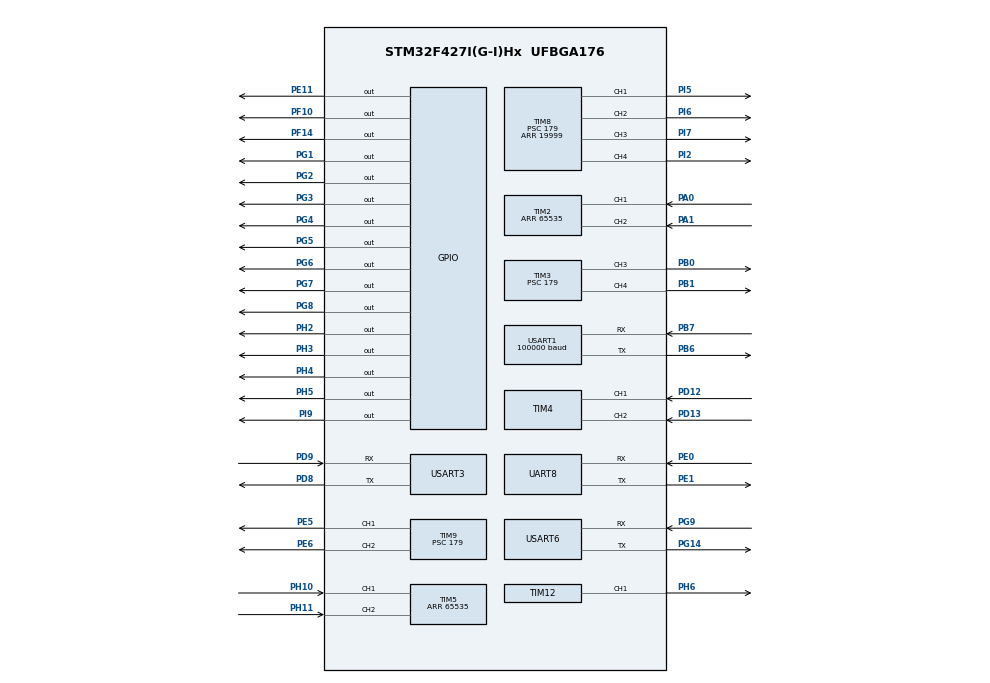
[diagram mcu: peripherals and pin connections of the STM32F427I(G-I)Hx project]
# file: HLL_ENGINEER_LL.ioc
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Dma.Request0=USART1_RX
Dma.Request1=USART6_RX
Dma.Request2=UART8_RX
Dma.Request3=UART8_TX
Dma.UART8_RX.2.Direction=DMA_PERIPH_TO_MEMORY
Dma.UART8_RX.2.FIFOMode=DMA_FIFOMODE_DISABLE
Dma.UART8_RX.2.Instance=DMA1_Stream6
Dma.UART8_RX.2.MemDataAlignment=DMA_MDATAALIGN_BYTE
Dma.UART8_RX.2.MemInc=DMA_MINC_ENABLE
Dma.UART8_RX.2.Mode=DMA_NORMAL
Dma.UART8_RX.2.PeriphDataAlignment=DMA_PDATAALIGN_BYTE
Dma.UART8_RX.2.PeriphInc=DMA_PINC_DISABLE
Dma.UART8_RX.2.Priority=DMA_PRIORITY_VERY_HIGH
Dma.UART8_TX.3.Direction=DMA_MEMORY_TO_PERIPH
Dma.UART8_TX.3.FIFOMode=DMA_FIFOMODE_DISABLE
Dma.UART8_TX.3.Instance=DMA1_Stream0
Dma.UART8_TX.3.MemDataAlignment=DMA_MDATAALIGN_BYTE
Dma.UART8_TX.3.MemInc=DMA_MINC_ENABLE
Dma.UART8_TX.3.Mode=DMA_NORMAL
Dma.UART8_TX.3.PeriphDataAlignment=DMA_PDATAALIGN_BYTE
Dma.UART8_TX.3.PeriphInc=DMA_PINC_DISABLE
Dma.UART8_TX.3.Priority=DMA_PRIORITY_VERY_HIGH
Dma.USART1_RX.0.Direction=DMA_PERIPH_TO_MEMORY
Dma.USART1_RX.0.FIFOMode=DMA_FIFOMODE_DISABLE
Dma.USART1_RX.0.Instance=DMA2_Stream2
Dma.USART1_RX.0.MemDataAlignment=DMA_MDATAALIGN_BYTE
Dma.USART1_RX.0.MemInc=DMA_MINC_ENABLE
Dma.USART1_RX.0.Mode=DMA_CIRCULAR
Dma.USART1_RX.0.PeriphDataAlignment=DMA_PDATAALIGN_BYTE
Dma.USART1_RX.0.PeriphInc=DMA_PINC_DISABLE
Dma.USART1_RX.0.Priority=DMA_PRIORITY_VERY_HIGH
Dma.USART6_RX.1.Direction=DMA_PERIPH_TO_MEMORY
Dma.USART6_RX.1.FIFOMode=DMA_FIFOMODE_DISABLE
Dma.USART6_RX.1.Instance=DMA2_Stream1
Dma.USART6_RX.1.MemDataAlignment=DMA_MDATAALIGN_BYTE
Dma.USART6_RX.1.MemInc=DMA_MINC_ENABLE
Dma.USART6_RX.1.Mode=DMA_NORMAL
Dma.USART6_RX.1.PeriphDataAlignment=DMA_PDATAALIGN_BYTE
Dma.USART6_RX.1.PeriphInc=DMA_PINC_DISABLE
Dma.USART6_RX.1.Priority=DMA_PRIORITY_VERY_HIGH
Mcu.Family=STM32F4
Mcu.Name=STM32F427I(G-I)Hx
Mcu.Package=UFBGA176
NVIC.DMA1_Stream0_IRQn=true\:6\:0\:true\:false\:true\:false\:true
NVIC.DMA1_Stream6_IRQn=true\:6\:0\:true\:false\:true\:false\:true
NVIC.DMA2_Stream1_IRQn=true\:6\:0\:true\:false\:true\:false\:true
NVIC.DMA2_Stream2_IRQn=true\:6\:0\:true\:false\:true\:false\:true
NVIC.PriorityGroup=NVIC_PRIORITYGROUP_4
NVIC.TIM1_UP_TIM10_IRQn=true\:6\:0\:true\:false\:true\:false\:true
NVIC.TIM2_IRQn=true\:6\:0\:true\:false\:true\:true\:true
NVIC.TIM4_IRQn=true\:6\:0\:true\:false\:true\:true\:true
NVIC.TIM5_IRQn=true\:6\:0\:true\:false\:true\:true\:true
NVIC.TIM7_IRQn=true\:6\:0\:true\:false\:true\:true\:true
NVIC.TimeBase=TIM1_UP_TIM10_IRQn
NVIC.TimeBaseIP=TIM1
NVIC.UART8_IRQn=true\:6\:0\:true\:false\:true\:true\:true
NVIC.USART1_IRQn=true\:6\:0\:true\:false\:true\:true\:true
NVIC.USART3_IRQn=true\:6\:0\:true\:false\:true\:true\:true
NVIC.USART6_IRQn=true\:6\:0\:true\:false\:true\:true\:true
PA0/WKUP.GPIO_ModeDefaultPP=GPIO_MODE_AF_OD
PA0/WKUP.GPIO_PuPd=GPIO_NOPULL
PA0/WKUP.GPIO_Speed=GPIO_SPEED_FREQ_VERY_HIGH
PA0/WKUP.Signal=S_TIM2_CH1_ETR
PA1.GPIO_ModeDefaultPP=GPIO_MODE_AF_OD
PA1.GPIO_PuPd=GPIO_NOPULL
PA1.GPIO_Speed=GPIO_SPEED_FREQ_VERY_HIGH
PA1.Signal=S_TIM2_CH2
PA13.Mode=Serial_Wire
PA13.Signal=SYS_JTMS-SWDIO
PA14.Mode=Serial_Wire
PA14.Signal=SYS_JTCK-SWCLK
PB0.GPIO_PuPd=GPIO_PULLUP
PB0.GPIO_Speed=GPIO_SPEED_FREQ_VERY_HIGH
PB0.Signal=S_TIM3_CH3
PB1.GPIO_PuPd=GPIO_PULLUP
PB1.GPIO_Speed=GPIO_SPEED_FREQ_VERY_HIGH
PB1.Signal=S_TIM3_CH4
PB6.GPIO_ModeDefaultPP=GPIO_MODE_AF_PP
PB6.GPIO_PuPd=GPIO_PULLUP
PB6.Mode=Asynchronous
PB6.Signal=USART1_TX
PB7.GPIO_PuPd=GPIO_PULLUP
PB7.Mode=Asynchronous
PB7.Signal=USART1_RX
PD12.GPIO_ModeDefaultPP=GPIO_MODE_AF_OD
PD12.GPIO_PuPd=GPIO_NOPULL
PD12.GPIO_Speed=GPIO_SPEED_FREQ_VERY_HIGH
PD12.Signal=S_TIM4_CH1
PD13.GPIO_ModeDefaultPP=GPIO_MODE_AF_OD
PD13.GPIO_PuPd=GPIO_NOPULL
PD13.GPIO_Speed=GPIO_SPEED_FREQ_VERY_HIGH
PD13.Signal=S_TIM4_CH2
PD8.GPIO_PuPd=GPIO_PULLUP
PD8.GPIO_Speed=GPIO_SPEED_FREQ_HIGH
PD8.Mode=Asynchronous
PD8.Signal=USART3_TX
PD9.GPIO_PuPd=GPIO_PULLUP
PD9.GPIO_Speed=GPIO_SPEED_FREQ_HIGH
PD9.Mode=Asynchronous
PD9.Signal=USART3_RX
PE0.Mode=Asynchronous
PE0.Signal=UART8_RX
PE1.Mode=Asynchronous
PE1.Signal=UART8_TX
PE11.GPIO_PuPd=GPIO_PULLUP
PE11.GPIO_Speed=GPIO_SPEED_FREQ_VERY_HIGH
PE11.Signal=GPIO_Output
PE5.GPIO_PuPd=GPIO_PULLUP
PE5.GPIO_Speed=GPIO_SPEED_FREQ_VERY_HIGH
PE5.Signal=S_TIM9_CH1
PE6.GPIO_PuPd=GPIO_PULLUP
PE6.GPIO_Speed=GPIO_SPEED_FREQ_VERY_HIGH
PE6.Signal=S_TIM9_CH2
PF10.GPIO_PuPd=GPIO_PULLUP
PF10.GPIO_Speed=GPIO_SPEED_FREQ_VERY_HIGH
PF10.Signal=GPIO_Output
PF14.GPIO_PuPd=GPIO_PULLUP
PF14.GPIO_Speed=GPIO_SPEED_FREQ_VERY_HIGH
PF14.Signal=GPIO_Output
PG1.GPIO_PuPd=GPIO_PULLUP
PG1.GPIO_Speed=GPIO_SPEED_FREQ_VERY_HIGH
PG1.Signal=GPIO_Output
PG14.GPIO_PuPd=GPIO_PULLUP
PG14.Mode=Asynchronous
PG14.Signal=USART6_TX
PG2.GPIO_ModeDefaultOutputPP=GPIO_MODE_OUTPUT_PP
PG2.GPIO_PuPd=GPIO_PULLUP
PG2.GPIO_Speed=GPIO_SPEED_FREQ_VERY_HIGH
PG2.PinState=GPIO_PIN_RESET
PG2.Signal=GPIO_Output
PG3.GPIO_ModeDefaultOutputPP=GPIO_MODE_OUTPUT_PP
PG3.GPIO_PuPd=GPIO_PULLUP
PG3.GPIO_Speed=GPIO_SPEED_FREQ_VERY_HIGH
PG3.PinState=GPIO_PIN_RESET
PG3.Signal=GPIO_Output
PG4.GPIO_ModeDefaultOutputPP=GPIO_MODE_OUTPUT_PP
PG4.GPIO_PuPd=GPIO_PULLUP
PG4.GPIO_Speed=GPIO_SPEED_FREQ_VERY_HIGH
PG4.PinState=GPIO_PIN_RESET
PG4.Signal=GPIO_Output
PG5.GPIO_ModeDefaultOutputPP=GPIO_MODE_OUTPUT_PP
PG5.GPIO_PuPd=GPIO_PULLUP
PG5.GPIO_Speed=GPIO_SPEED_FREQ_VERY_HIGH
PG5.PinState=GPIO_PIN_RESET
PG5.Signal=GPIO_Output
PG6.GPIO_ModeDefaultOutputPP=GPIO_MODE_OUTPUT_PP
PG6.GPIO_PuPd=GPIO_PULLUP
PG6.GPIO_Speed=GPIO_SPEED_FREQ_VERY_HIGH
PG6.PinState=GPIO_PIN_RESET
PG6.Signal=GPIO_Output
PG7.GPIO_ModeDefaultOutputPP=GPIO_MODE_OUTPUT_PP
PG7.GPIO_PuPd=GPIO_PULLUP
PG7.GPIO_Speed=GPIO_SPEED_FREQ_VERY_HIGH
PG7.PinState=GPIO_PIN_RESET
PG7.Signal=GPIO_Output
PG8.GPIO_ModeDefaultOutputPP=GPIO_MODE_OUTPUT_PP
PG8.GPIO_PuPd=GPIO_PULLUP
PG8.GPIO_Speed=GPIO_SPEED_FREQ_VERY_HIGH
PG8.PinState=GPIO_PIN_RESET
PG8.Signal=GPIO_Output
PG9.GPIO_PuPd=GPIO_PULLUP
PG9.Mode=Asynchronous
PG9.Signal=USART6_RX
PH0/OSC_IN.Mode=HSE-External-Oscillator
PH0/OSC_IN.Signal=RCC_OSC_IN
PH1/OSC_OUT.Mode=HSE-External-Oscillator
PH1/OSC_OUT.Signal=RCC_OSC_OUT
PH10.GPIO_ModeDefaultPP=GPIO_MODE_AF_OD
PH10.GPIO_PuPd=GPIO_NOPULL
PH10.GPIO_Speed=GPIO_SPEED_FREQ_VERY_HIGH
PH10.Signal=S_TIM5_CH1
PH11.GPIO_ModeDefaultPP=GPIO_MODE_AF_OD
PH11.GPIO_PuPd=GPIO_NOPULL
PH11.GPIO_Speed=GPIO_SPEED_FREQ_VERY_HIGH
PH11.Signal=S_TIM5_CH2
PH2.GPIO_PuPd=GPIO_PULLUP
PH2.GPIO_Speed=GPIO_SPEED_FREQ_VERY_HIGH
PH2.Signal=GPIO_Output
PH3.GPIO_PuPd=GPIO_PULLUP
PH3.GPIO_Speed=GPIO_SPEED_FREQ_VERY_HIGH
PH3.Signal=GPIO_Output
PH4.GPIO_PuPd=GPIO_PULLUP
PH4.GPIO_Speed=GPIO_SPEED_FREQ_VERY_HIGH
PH4.Signal=GPIO_Output
PH5.GPIO_PuPd=GPIO_PULLUP
PH5.GPIO_Speed=GPIO_SPEED_FREQ_VERY_HIGH
PH5.Signal=GPIO_Output
PH6.GPIO_PuPd=GPIO_PULLDOWN
PH6.GPIO_Speed=GPIO_SPEED_FREQ_VERY_HIGH
PH6.Signal=S_TIM12_CH1
PI2.GPIO_PuPd=GPIO_PULLUP
PI2.GPIO_Speed=GPIO_SPEED_FREQ_VERY_HIGH
PI2.Signal=S_TIM8_CH4
PI5.GPIO_PuPd=GPIO_PULLUP
PI5.GPIO_Speed=GPIO_SPEED_FREQ_VERY_HIGH
PI5.Signal=S_TIM8_CH1
PI6.GPIO_PuPd=GPIO_PULLUP
PI6.GPIO_Speed=GPIO_SPEED_FREQ_VERY_HIGH
PI6.Signal=S_TIM8_CH2
PI7.GPIO_PuPd=GPIO_PULLUP
PI7.GPIO_Speed=GPIO_SPEED_FREQ_VERY_HIGH
PI7.Signal=S_TIM8_CH3
PI9.GPIO_PuPd=GPIO_PULLUP
PI9.GPIO_Speed=GPIO_SPEED_FREQ_VERY_HIGH
PI9.Signal=GPIO_Output
ProjectManager.HeapSize=0x200
ProjectManager.StackSize=0x400
ProjectManager.TargetToolchain=MDK-ARM V5.27
RCC.48MHZClocksFreq_Value=90000000
RCC.AHBFreq_Value=180000000
RCC.APB1CLKDivider=RCC_HCLK_DIV4
RCC.APB1Freq_Value=45000000
RCC.APB1TimFreq_Value=90000000
RCC.APB2CLKDivider=RCC_HCLK_DIV2
RCC.APB2Freq_Value=90000000
RCC.APB2TimFreq_Value=180000000
RCC.CortexFreq_Value=180000000
RCC.HCLKFreq_Value=180000000
RCC.HSE_VALUE=12000000
RCC.HSI_VALUE=16000000
RCC.LSE_VALUE=32768
RCC.PLLM=6
RCC.PLLN=180
RCC.PLLSourceVirtual=RCC_PLLSOURCE_HSE
RCC.SYSCLKFreq_VALUE=180000000
RCC.SYSCLKSource=RCC_SYSCLKSOURCE_PLLCLK
RCC.VCOOutputFreq_Value=360000000
SH.S_TIM12_CH1.0=TIM12_CH1,PWM Generation1 CH1
SH.S_TIM2_CH1_ETR.0=TIM2_CH1,Encoder_Interface
SH.S_TIM2_CH2.0=TIM2_CH2,Encoder_Interface
SH.S_TIM3_CH3.0=TIM3_CH3,PWM Generation3 CH3
SH.S_TIM3_CH4.0=TIM3_CH4,PWM Generation4 CH4
SH.S_TIM4_CH1.0=TIM4_CH1,Encoder_Interface
SH.S_TIM4_CH2.0=TIM4_CH2,Encoder_Interface
SH.S_TIM5_CH1.0=TIM5_CH1,Encoder_Interface
SH.S_TIM5_CH2.0=TIM5_CH2,Encoder_Interface
SH.S_TIM8_CH1.0=TIM8_CH1,PWM Generation1 CH1
SH.S_TIM8_CH2.0=TIM8_CH2,PWM Generation2 CH2
SH.S_TIM8_CH3.0=TIM8_CH3,PWM Generation3 CH3
SH.S_TIM8_CH4.0=TIM8_CH4,PWM Generation4 CH4
SH.S_TIM9_CH1.0=TIM9_CH1,PWM Generation1 CH1
SH.S_TIM9_CH2.0=TIM9_CH2,PWM Generation2 CH2
TIM12.Channel-PWM\ Generation1\ CH1=TIM_CHANNEL_1
TIM12.Period=999
TIM12.Prescaler=89
TIM2.EncoderMode=TIM_ENCODERMODE_TI2
TIM2.IC1Filter=0
TIM2.Period=65535
TIM3.AutoReloadPreload=TIM_AUTORELOAD_PRELOAD_ENABLE
TIM3.Channel-PWM\ Generation3\ CH3=TIM_CHANNEL_3
TIM3.Channel-PWM\ Generation4\ CH4=TIM_CHANNEL_4
TIM3.Period=19999
TIM3.Prescaler=179
TIM4.EncoderMode=TIM_ENCODERMODE_TI2
TIM5.EncoderMode=TIM_ENCODERMODE_TI2
TIM5.Period=65535
TIM7.Period=19999
TIM7.Prescaler=89
TIM8.AutoReloadPreload=TIM_AUTORELOAD_PRELOAD_ENABLE
TIM8.Channel-PWM\ Generation1\ CH1=TIM_CHANNEL_1
TIM8.Channel-PWM\ Generation2\ CH2=TIM_CHANNEL_2
TIM8.Channel-PWM\ Generation3\ CH3=TIM_CHANNEL_3
TIM8.Channel-PWM\ Generation4\ CH4=TIM_CHANNEL_4
TIM8.Period=19999
TIM8.Prescaler=179
TIM9.Channel-PWM\ Generation1\ CH1=TIM_CHANNEL_1
TIM9.Channel-PWM\ Generation2\ CH2=TIM_CHANNEL_2
TIM9.Period=19999
TIM9.Prescaler=179
UART8.VirtualMode=Asynchronous
USART1.BaudRate=100000
USART1.VirtualMode=VM_ASYNC
USART1.WordLength=WORDLENGTH_9B
USART3.VirtualMode=VM_ASYNC
USART6.VirtualMode=VM_ASYNC
VP_SYS_VS_tim1.Mode=TIM1
VP_TIM7_VS_ClockSourceINT.Mode=Enable_Timer
board=custom

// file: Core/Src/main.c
/* USER CODE BEGIN Header */
/**
  ******************************************************************************
  * @file           : main.c
  * @brief          : Main program body
  ******************************************************************************
  * @attention
  *
  * <h2><center>&copy; Copyright (c) 2022 STMicroelectronics.
  * All rights reserved.</center></h2>
  *
  * This software component is licensed by ST under BSD 3-Clause license,
  * the "License"; You may not use this file except in compliance with the
  * License. You may obtain a copy of the License at:
  *                        opensource.org/licenses/BSD-3-Clause
  *
  ******************************************************************************
  */
/* USER CODE END Header */
#include "main.h"
#include "dma.h"
#include "tim.h"
#include "usart.h"
#include "gpio.h"

/* USER CODE BEGIN Includes */
#include "centre.h"
#include "usart_hll.h"
#include "FreeRTOSConfig.h"
#include "FreeRTOS.h"
#include "task.h"
#include "init_task.h"
#include "start_task.h"
/* USER CODE END Includes */

void SystemClock_Config(void);

int main(void)
{

  /* MCU Configuration--------------------------------------------------------*/

  /* Reset of all peripherals, Initializes the Flash interface and the Systick. */
  HAL_Init();

  /* Configure the system clock */
  SystemClock_Config();

  /* Initialize all configured peripherals */
  MX_GPIO_Init();
  MX_DMA_Init();
  MX_USART1_UART_Init();
  MX_TIM2_Init();
  MX_TIM4_Init();
  MX_TIM5_Init();
  MX_USART3_UART_Init();
  MX_TIM3_Init();
  MX_TIM8_Init();
  MX_TIM7_Init();
  MX_USART6_UART_Init();
  MX_TIM12_Init();
  MX_UART8_Init();
  MX_TIM9_Init();
  /* USER CODE BEGIN 2 */
  All_Init();
	//������ʼ����
	xTaskCreate((TaskFunction_t )Start_Task,            //������
							(const char*    )"start_task",          //��������
							(uint16_t       )128,                   //�����ջ��С
							(void*          )NULL,                  //���ݸ��������Ĳ���
							(UBaseType_t    )10,                    //�������ȼ�
							(TaskHandle_t*  )&StartTask_Handler);   //������
	vTaskStartScheduler();                              //�����������
  /* USER CODE END 2 */

  /* Infinite loop */
  while (1)
  {

  }
}

void SystemClock_Config(void)
{
  LL_FLASH_SetLatency(LL_FLASH_LATENCY_5);
  while(LL_FLASH_GetLatency()!= LL_FLASH_LATENCY_5)
  {
  }
  LL_PWR_SetRegulVoltageScaling(LL_PWR_REGU_VOLTAGE_SCALE1);
  LL_PWR_EnableOverDriveMode();
  LL_RCC_HSE_Enable();

   /* Wait till HSE is ready */
  while(LL_RCC_HSE_IsReady() != 1)
  {

  }
  LL_RCC_PLL_ConfigDomain_SYS(LL_RCC_PLLSOURCE_HSE, LL_RCC_PLLM_DIV_6, 180, LL_RCC_PLLP_DIV_2);
  LL_RCC_PLL_Enable();

   /* Wait till PLL is ready */
  while(LL_RCC_PLL_IsReady() != 1)
  {

  }
  LL_RCC_SetAHBPrescaler(LL_RCC_SYSCLK_DIV_1);
  LL_RCC_SetAPB1Prescaler(LL_RCC_APB1_DIV_4);
  LL_RCC_SetAPB2Prescaler(LL_RCC_APB2_DIV_2);
  LL_RCC_SetSysClkSource(LL_RCC_SYS_CLKSOURCE_PLL);

   /* Wait till System clock is ready */
  while(LL_RCC_GetSysClkSource() != LL_RCC_SYS_CLKSOURCE_STATUS_PLL)
  {

  }
  LL_SetSystemCoreClock(180000000);

   /* Update the time base */
  if (HAL_InitTick (TICK_INT_PRIORITY) != HAL_OK)
  {
    Error_Handler();
  }
  LL_RCC_SetTIMPrescaler(LL_RCC_TIM_PRESCALER_TWICE);
}

 /**
  * @brief  Period elapsed callback in non blocking mode
  * @note   This function is called  when TIM1 interrupt took place, inside
  * HAL_TIM_IRQHandler(). It makes a direct call to HAL_IncTick() to increment
  * a global variable "uwTick" used as application time base.
  * @param  htim : TIM handle
  * @retval None
  */
void HAL_TIM_PeriodElapsedCallback(TIM_HandleTypeDef *htim)
{
  if (htim->Instance == TIM1) {
    HAL_IncTick();
  }
}

void Error_Handler(void)
{
  __disable_irq();
  while (1)
  {
  }
}

/************************ (C) COPYRIGHT STMicroelectronics *****END OF FILE****/
